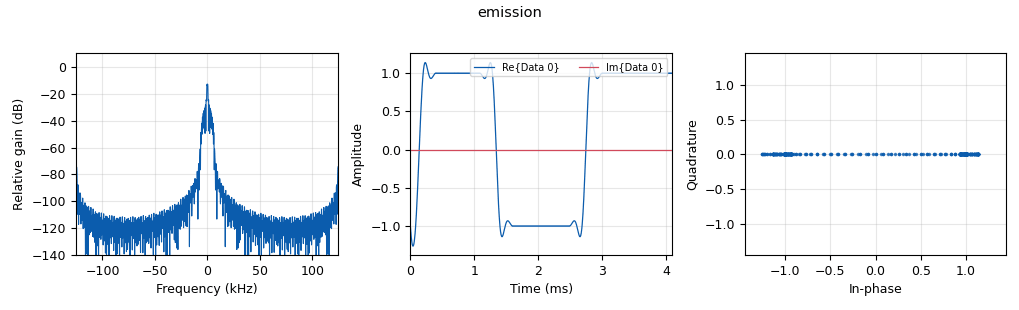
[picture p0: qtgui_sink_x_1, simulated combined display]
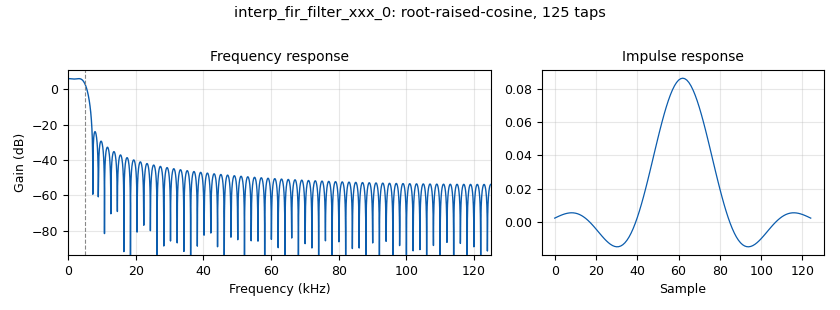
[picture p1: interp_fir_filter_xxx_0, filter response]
options:
  parameters:
    generate_options: qt_gui
    generator_class_name: PythonQtGuiGenerator
    generator_module: gnuradio.grc.workflows.python_qt_gui
    id: deuxpsk
    output_language: python
    title: 2psk
  states: {}

blocks:
- name: center_freq
  id: variable
  parameters:
    value: 100*10**6
  states: {}
- name: data_rate
  id: variable
  parameters:
    value: '10000'
  states: {}
- name: porteuse
  id: variable
  parameters:
    value: 5*10**9
  states: {}
- name: rrc_filter_taps
  id: variable_rrc_filter_taps
  parameters:
    alpha: '0.35'
    gain: '2.0'
    ntaps: 5*samples_par_symbol
    samp_rate: samp_rate
    sym_rate: data_rate
  states: {}
- name: samp_rate
  id: variable
  parameters:
    value: '250000'
  states: {}
- name: samples_par_symbol
  id: variable
  parameters:
    value: int(samp_rate/data_rate)
  states: {}
- name: usrp
  id: variable
  parameters:
    value: '"serial=322F67E"'
  states: {}
- name: blocks_char_to_float_0
  id: blocks_char_to_float
  parameters:
    scale: '1'
  states: {}
- name: blocks_complex_to_real_0
  id: blocks_complex_to_real
  parameters: {}
  states: {}
- name: blocks_float_to_char_0
  id: blocks_float_to_char
  parameters:
    scale: '1'
  states: {}
- name: blocks_pack_k_bits_bb_0
  id: blocks_pack_k_bits_bb
  parameters:
    k: '8'
  states: {}
- name: blocks_repeat_0
  id: blocks_repeat
  parameters:
    interp: samples_par_symbol
    type: complex
  states: {}
- name: blocks_threshold_ff_0
  id: blocks_threshold_ff
  parameters:
    high: '0'
    init: '0'
    low: '0'
  states: {}
- name: blocks_throttle2_0
  id: blocks_throttle2
  parameters:
    samples_per_second: data_rate
    type: byte
  states: {}
- name: blocks_unpack_k_bits_bb_0
  id: blocks_unpack_k_bits_bb
  parameters:
    k: '8'
  states: {}
- name: blocks_vector_source_x_0
  id: blocks_vector_source_x
  parameters:
    repeat: 'True'
    type: byte
    vector: (79, 35, 95, 128,0xff)
  states: {}
- name: digital_chunks_to_symbols_xx_0
  id: digital_chunks_to_symbols_xx
  parameters:
    dimension: '1'
    in_type: byte
    out_type: complex
    symbol_table: (-1,1)
  states: {}
- name: digital_costas_loop_cc_0
  id: digital_costas_loop_cc
  parameters:
    order: '2'
    w: '0.01'
  states: {}
- name: digital_symbol_sync_xx_0
  id: digital_symbol_sync_xx
  parameters:
    damping: '1.0'
    loop_bw: '0.045'
    max_dev: '1.5'
    osps: '1'
    resamp_type: digital.IR_MMSE_8TAP
    sps: samples_par_symbol
    ted_gain: '1.0'
    ted_type: digital.TED_MUELLER_AND_MULLER
    type: cc
  states: {}
- name: interp_fir_filter_xxx_0
  id: interp_fir_filter_xxx
  parameters:
    interp: '2'
    taps: rrc_filter_taps
    type: ccc
  states: {}
- name: interp_fir_filter_xxx_1
  id: interp_fir_filter_xxx
  parameters:
    interp: '2'
    taps: rrc_filter_taps
    type: ccc
  states: {}
- name: qtgui_const_sink_x_0
  id: qtgui_const_sink_x
  parameters:
    size: '1024'
    type: complex
  states: {}
- name: qtgui_histogram_sink_x_0
  id: qtgui_histogram_sink_x
  parameters:
    bins: '100'
    name: '"valeurs reçues"'
    size: '1024'
    type: float
    xmax: '256'
    xmin: '0'
  states: {}
- name: qtgui_histogram_sink_x_1
  id: qtgui_histogram_sink_x
  parameters:
    bins: '100'
    name: '"1 bit"'
    size: '1024'
    type: float
    xmax: '2'
    xmin: '-1'
  states: {}
- name: qtgui_sink_x_0
  id: qtgui_sink_x
  parameters:
    bw: samp_rate
    fc: center_freq
    fftsize: '1024'
    gui_hint: (0,0)
    type: complex
  states: {}
- name: qtgui_sink_x_1
  id: qtgui_sink_x
  parameters:
    bw: samp_rate
    fc: '0'
    fftsize: '1024'
    name: '"emission"'
    type: complex
  states: {}
- name: uhd_usrp_sink_0
  id: uhd_usrp_sink
  parameters:
    ant0: '"TX/RX"'
    center_freq0: center_freq
    dev_addr: usrp
    gain0: '-10'
    samp_rate: samp_rate
    sync: sync
    type: fc32
  states: {}
- name: uhd_usrp_source_0
  id: uhd_usrp_source
  parameters:
    ant0: '"RX2"'
    center_freq0: center_freq
    dev_addr: usrp
    rx_agc0: Enabled
    samp_rate: samp_rate
    sync: sync
    type: fc32
  states: {}

connections:
- [blocks_char_to_float_0, '0', qtgui_histogram_sink_x_0, '0']
- [blocks_complex_to_real_0, '0', blocks_threshold_ff_0, '0']
- [blocks_complex_to_real_0, '0', qtgui_histogram_sink_x_1, '0']
- [blocks_float_to_char_0, '0', blocks_pack_k_bits_bb_0, '0']
- [blocks_pack_k_bits_bb_0, '0', blocks_char_to_float_0, '0']
- [blocks_repeat_0, '0', interp_fir_filter_xxx_0, '0']
- [blocks_threshold_ff_0, '0', blocks_float_to_char_0, '0']
- [blocks_throttle2_0, '0', blocks_unpack_k_bits_bb_0, '0']
- [blocks_unpack_k_bits_bb_0, '0', digital_chunks_to_symbols_xx_0, '0']
- [blocks_vector_source_x_0, '0', blocks_throttle2_0, '0']
- [digital_chunks_to_symbols_xx_0, '0', blocks_repeat_0, '0']
- [digital_costas_loop_cc_0, '0', blocks_complex_to_real_0, '0']
- [digital_costas_loop_cc_0, '0', qtgui_const_sink_x_0, '0']
- [digital_symbol_sync_xx_0, '0', digital_costas_loop_cc_0, '0']
- [interp_fir_filter_xxx_0, '0', qtgui_sink_x_1, '0']
- [interp_fir_filter_xxx_0, '0', uhd_usrp_sink_0, '0']
- [interp_fir_filter_xxx_1, '0', digital_symbol_sync_xx_0, '0']
- [uhd_usrp_source_0, '0', interp_fir_filter_xxx_1, '0']
- [uhd_usrp_source_0, '0', qtgui_sink_x_0, '0']

metadata:
  file_format: 1
  grc_version: v3.11.0.0git-1029-g3c48f5e2
